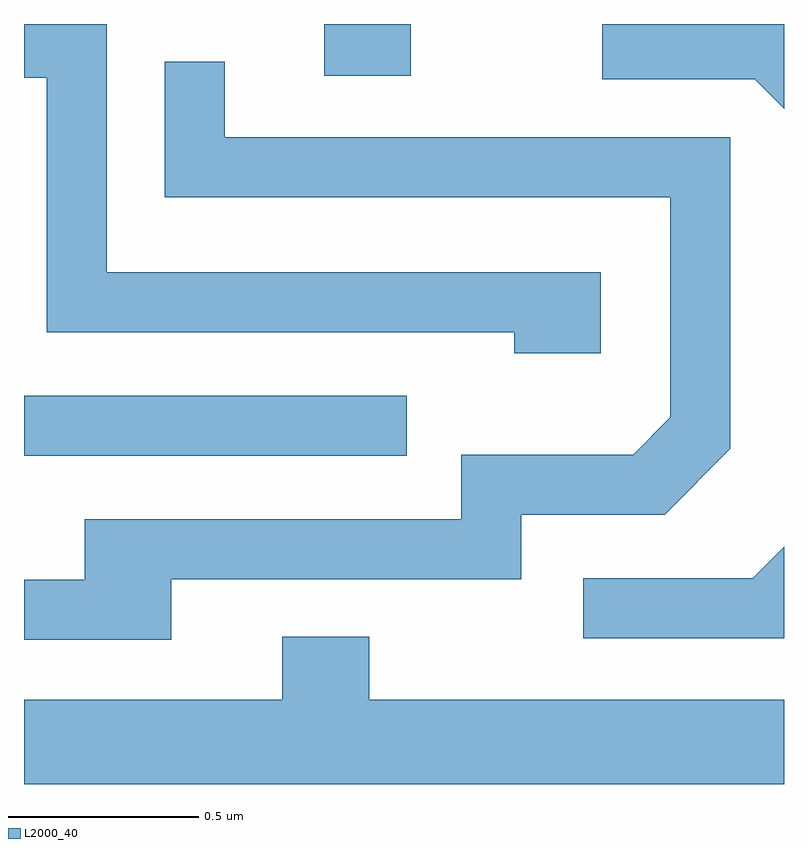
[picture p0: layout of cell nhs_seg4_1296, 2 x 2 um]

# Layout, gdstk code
import gdstk
lib = gdstk.Library(unit=1e-6, precision=1e-09)
def R(c, l, rs):  # rectangles x0, y0, x1, y1
    for r in rs: c.add(gdstk.rectangle(r[:2], r[2:], *l))
def P(c, l, *ps):  # polygons
    for p in ps: c.add(gdstk.Polygon(p, *l))
L2000_40 = (2000, 40)

nhs_seg4_1296 = lib.new_cell('nhs_seg4_1296')
R(nhs_seg4_1296, L2000_40, [(194.611,1317.846,195.618,1318.004), (195.401,1318.846,195.629,1318.982)])
P(nhs_seg4_1296, L2000_40, [(196.611,1318.982),(196.133,1318.982),(196.133,1318.836),(196.534,1318.836),(196.611,1318.759)],
  [(196.129,1318.329),(194.829,1318.329),(194.829,1318.982),(194.611,1318.982),(194.611,1318.841),(194.671,1318.841),(194.671,1318.171),(195.901,1318.171),(195.901,1318.116),(196.129,1318.116)],
  [(194.999,1317.521),(195.919,1317.521),(195.919,1317.691),(196.297,1317.691),(196.469,1317.864),(196.469,1318.684),(195.139,1318.684),(195.139,1318.883),(194.981,1318.883),(194.981,1318.526),(196.311,1318.526),(196.311,1317.947),(196.214,1317.849),(195.761,1317.849),(195.761,1317.679),(194.771,1317.679),(194.771,1317.519),(194.611,1317.519),(194.611,1317.361),(194.999,1317.361)],
  [(196.611,1317.607),(196.529,1317.524),(196.083,1317.524),(196.083,1317.366),(196.611,1317.366)],
  [(196.611,1317.204),(195.519,1317.204),(195.519,1317.369),(195.291,1317.369),(195.291,1317.204),(194.611,1317.204),(194.611,1316.982),(196.611,1316.982)])

lib.write_gds('nhs_seg4_1296.gds')
